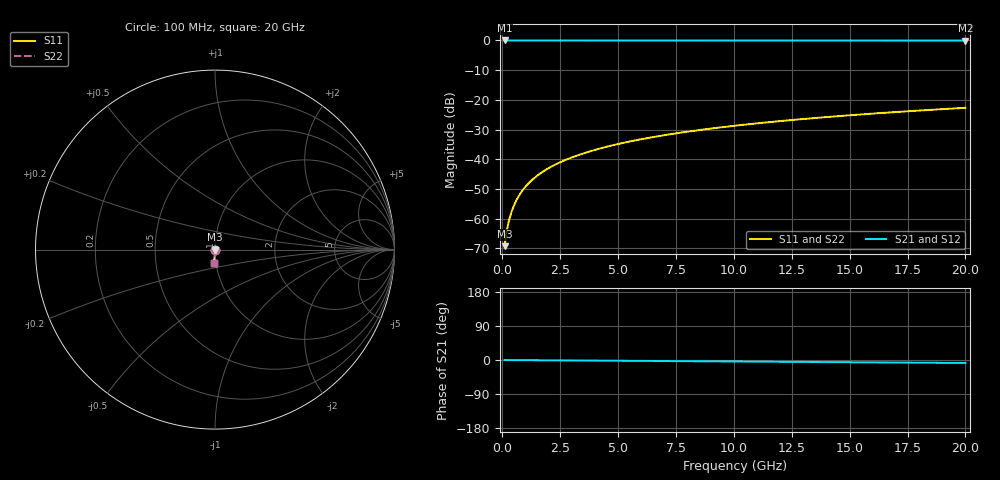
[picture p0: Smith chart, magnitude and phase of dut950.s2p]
! Touchstone file exported from HFSS 2026.1.0
!  File:  C:/ffzhzh/LocalFiles/Ansys_Project_Files/temp_train_TSV_950_1783187272_18472.aedt
!  Generated:  01:49:10 AM Jul  5, 2026
!  Design:  TSV
!  Project:  temp_train_TSV_950_1783187272_18472
! Variables:
!  h_bsmrdl = 2um
!  h_ox = 20um
!  h_rdl = 5um
!  h_sub = 70.45um
!  h_tmrdl = 5um
!  h_tsv = 70.45um
!  h_via = 3um
!  l_bsmrdl = 300um
!  l_sub = 418.06um
!  l_tmrdl = 200um
!  m_sub = 200um
!  pitch = 23.09um
!  r_tsv = 9.03um
!  s_tmrdl = 10um
!  w_bsmrdl = 18um
!  w_sub = 500um
!  w_tmrdl = 12um
!  x_tsv_center1 = 206um
!  x_tsv_center2 = 524um
!  x_tsv_center3 = 736um
!  x_tsv_center4 = 1054um
!  x_tsv_center5 = 1266um
!  x_tsv_center6 = 1584um
# GHz S MA R 50.000000
! Terminal data exported
! Port[1] = TSV1_1_T1
! Port[2] = TSV1_1_T2
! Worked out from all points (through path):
!   200 points, 100 MHz to 20 GHz, reference 50 ohm
!   highest |S21| = 0.00 dB at 100 MHz (marker M1); lowest = 0.0 dB at 20 GHz (marker M2)
!   group delay of S21, straight-line fit = 1.08 ps
!   lowest |S11| = -69.3 dB at 100 MHz (marker M3), VSWR 1.00, Z = 50 - j0.0309 ohm
!   |S11| at or under -10 dB: start of sweep to end of sweep
!   |S22| runs from -69.3 to -22.7 dB; largest |S21 - S12| = 2.1e-15
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0.1  0.000344 -63.9  0.9998 -0.0  0.9998 -0.0  0.000344 -63.9
! Gamma 0 0 0 0
! Port Impedance 50 0 50 0
0.2  0.0006472 -74.6  0.9998 -0.1  0.9998 -0.1  0.0006472 -74.6
0.3  0.00097 -78.1  0.9998 -0.1  0.9998 -0.1  0.00097 -78.1
0.4  0.001306 -79.8  0.9998 -0.2  0.9998 -0.2  0.001306 -79.8
0.5  0.001651 -80.9  0.9997 -0.2  0.9997 -0.2  0.001651 -80.9
0.7  0.002361 -82.4  0.9997 -0.3  0.9997 -0.3  0.002361 -82.4
0.8  0.002721 -82.9  0.9996 -0.3  0.9996 -0.3  0.002721 -82.9
1  0.003446 -83.9  0.9996 -0.4  0.9996 -0.4  0.003446 -83.9
1.2  0.004173 -84.7  0.9996 -0.5  0.9996 -0.5  0.004173 -84.7
1.4  0.0049 -85.3  0.9995 -0.6  0.9995 -0.6  0.0049 -85.3
1.7  0.005991 -86.1  0.9995 -0.7  0.9995 -0.7  0.005991 -86.1
2  0.007081 -86.7  0.9995 -0.8  0.9995 -0.8  0.007081 -86.7
2.7  0.009627 -87.6  0.9994 -1.1  0.9994 -1.1  0.009627 -87.6
3.5  0.01255 -88.4  0.9993 -1.4  0.9993 -1.4  0.01255 -88.4
4.2  0.01511 -88.9  0.9992 -1.7  0.9992 -1.7  0.01511 -88.9
5  0.01805 -89.5  0.999 -2.0  0.999 -2.0  0.01805 -89.5
6.8  0.02468 -90.5  0.9988 -2.7  0.9988 -2.7  0.02468 -90.5
8.3  0.03023 -91.3  0.9985 -3.3  0.9985 -3.3  0.03023 -91.3
10.1  0.03689 -92.2  0.9982 -4.0  0.9982 -4.0  0.03689 -92.2
13.4  0.04909 -93.7  0.9975 -5.2  0.9975 -5.2  0.04909 -93.7
16.7  0.06127 -95.1  0.9966 -6.5  0.9966 -6.5  0.06127 -95.1
20  0.07343 -96.5  0.9956 -7.8  0.9956 -7.8  0.07343 -96.5
